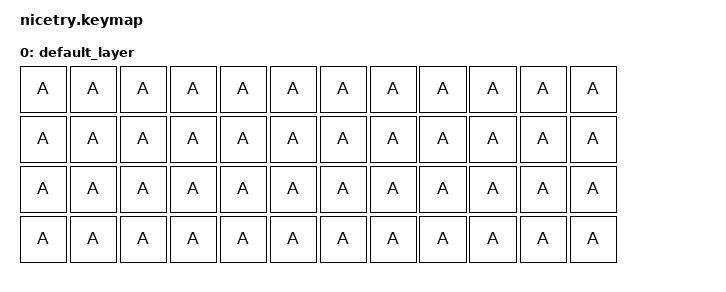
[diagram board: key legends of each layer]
#include <behaviors.dtsi>
#include <dt-bindings/zmk/keys.h>
#include <dt-bindings/zmk/bt.h>

/ {
    keymap {
        compatible = "zmk,keymap";

        // Default Layer (Layer 0)
        default_layer {
            bindings = <
                &kp A &kp A &kp A &kp A &kp A &kp A    &kp A &kp A &kp A &kp A &kp A &kp A 
                &kp A &kp A &kp A &kp A &kp A &kp A    &kp A &kp A &kp A &kp A &kp A &kp A 
                &kp A &kp A &kp A &kp A &kp A &kp A    &kp A &kp A &kp A &kp A &kp A &kp A 
                &kp A &kp A &kp A &kp A &kp A &kp A    &kp A &kp A &kp A &kp A &kp A &kp A 
            >;
        };
    };
};

